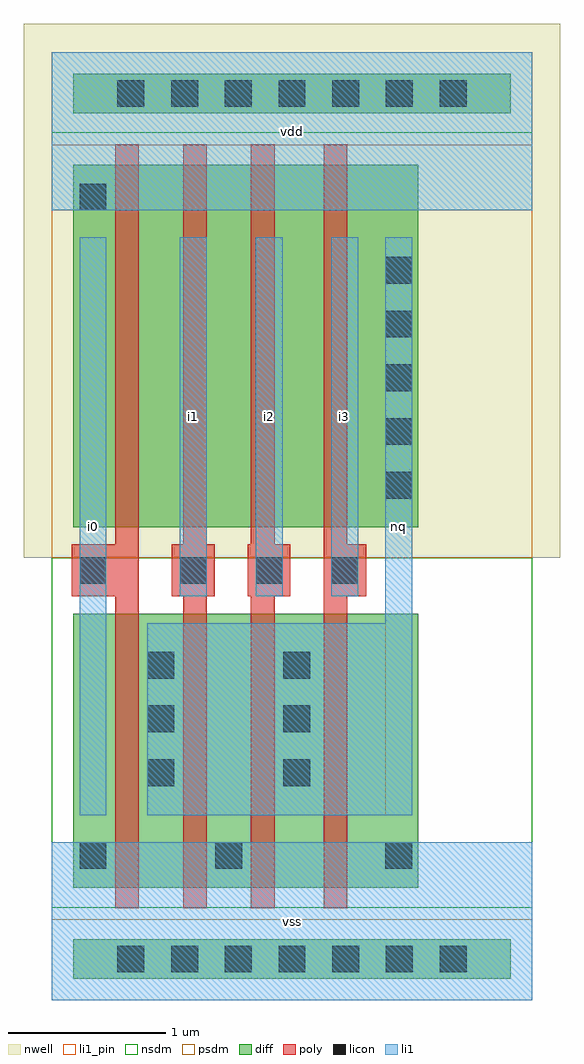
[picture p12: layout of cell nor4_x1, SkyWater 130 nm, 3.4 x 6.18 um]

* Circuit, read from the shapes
.subckt nor4_x1 i0 i1 i2 i3 nq vdd vss
XM1 nq i0 vss VSUBS sky130_fd_pr__nfet_01v8 w=1.735 l=0.15
XM2 vss i1 nq VSUBS sky130_fd_pr__nfet_01v8 w=1.735 l=0.15
XM3 nq i2 vss VSUBS sky130_fd_pr__nfet_01v8 w=1.735 l=0.15
XM4 vss i3 nq VSUBS sky130_fd_pr__nfet_01v8 w=1.735 l=0.15
XM5 n1 i0 vdd n2 sky130_fd_pr__pfet_01v8 w=2.295 l=0.15
XM6 n3 i1 n1 n2 sky130_fd_pr__pfet_01v8 w=2.295 l=0.15
XM7 n4 i2 n3 n2 sky130_fd_pr__pfet_01v8 w=2.295 l=0.15
XM8 nq i3 n4 n2 sky130_fd_pr__pfet_01v8 w=2.295 l=0.15
.ends

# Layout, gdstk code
import gdstk
lib = gdstk.Library(unit=1e-6, precision=1e-09)
def R(c, l, rs):  # rectangles x0, y0, x1, y1
    for r in rs: c.add(gdstk.rectangle(r[:2], r[2:], *l))
def A(c, l, x, y, w, h, nx, ny, dx, dy):  # array of equal rectangles
    R(c, l, [(x+i*dx, y+j*dy, x+i*dx+w, y+j*dy+h) for i in range(nx) for j in range(ny)])
def P(c, l, *ps):  # polygons
    for p in ps: c.add(gdstk.Polygon(p, *l))
nwell = (64, 20)
diff = (65, 20)
poly = (66, 20)
licon = (66, 44)
li1_pin = (67, 16)
li1 = (67, 20)
nsdm = (93, 44)
psdm = (94, 20)

nor4_x1 = lib.new_cell('nor4_x1')
R(nor4_x1, nwell, [(-0.18,2.8,3.22,6.18)])
R(nor4_x1, diff, [(0.135,0.135,2.905,0.385), (0.135,0.71,2.32,2.445), (0.135,2.995,2.32,5.29), (0.135,5.615,2.905,5.865)])
P(nor4_x1, poly, [(0.4,0.58),(0.4,2.555),(0.125,2.555),(0.125,2.885),(0.4,2.885),(0.4,5.42),(0.55,5.42),(0.55,0.58)],
  [(0.83,0.58),(0.83,2.555),(0.76,2.555),(0.76,2.885),(0.83,2.885),(0.83,5.42),(0.98,5.42),(0.98,2.885),(1.03,2.885),(1.03,2.555),(0.98,2.555),(0.98,0.58)],
  [(1.26,0.58),(1.26,2.555),(1.24,2.555),(1.24,2.885),(1.26,2.885),(1.26,5.42),(1.41,5.42),(1.41,2.885),(1.51,2.885),(1.51,2.555),(1.41,2.555),(1.41,0.58)],
  [(1.72,0.58),(1.72,5.42),(1.87,5.42),(1.87,2.885),(1.99,2.885),(1.99,2.555),(1.87,2.555),(1.87,0.58)])
A(nor4_x1, licon, 0.415, 0.175, 0.17, 0.17, 7, 2, 0.34, 5.48)
A(nor4_x1, licon, 0.605, 1.355, 0.17, 0.17, 1, 3, 0, 0.34)
A(nor4_x1, licon, 1.465, 1.355, 0.17, 0.17, 1, 3, 0, 0.34)
A(nor4_x1, licon, 0.81, 2.635, 0.17, 0.17, 3, 1, 0.48, 0)
A(nor4_x1, licon, 2.11, 3.175, 0.17, 0.17, 1, 5, 0, 0.34)
R(nor4_x1, licon, [(0.175,0.83,0.345,1), (1.035,0.83,1.205,1), (2.11,0.83,2.28,1), (0.175,2.635,0.345,2.805), (0.175,5,0.345,5.17)])
A(nor4_x1, li1_pin, 0.81, 2.555, 0.17, 2.275, 3, 1, 0.48, 0)
R(nor4_x1, li1_pin, [(0,0,3.04,1), (0.175,1.17,0.345,4.83), (2.11,1.17,2.28,4.83), (0,5,3.04,6)])
A(nor4_x1, li1, 0.81, 2.555, 0.17, 2.275, 3, 1, 0.48, 0)
R(nor4_x1, li1, [(0,0,3.04,1), (0.175,1.17,0.345,4.83), (0,5,3.04,6)])
P(nor4_x1, li1, [(0.605,1.17),(0.605,2.385),(2.11,2.385),(2.11,4.83),(2.28,4.83),(2.28,1.17)])
R(nor4_x1, nsdm, [(0,0.585,3.04,2.8), (0,5.49,3.04,6)])
R(nor4_x1, psdm, [(0,0,3.04,0.51), (0,2.8,3.04,5.415)])
nor4_x1.add(gdstk.Label('vss', (1.52,0.5), layer=67, texttype=16))
nor4_x1.add(gdstk.Label('vdd', (1.52,5.5), layer=67, texttype=16))
nor4_x1.add(gdstk.Label('nq', (2.195,3), layer=67, texttype=16))
nor4_x1.add(gdstk.Label('i0', (0.26,3), layer=67, texttype=16))
nor4_x1.add(gdstk.Label('i1', (0.895,3.693), layer=67, texttype=16))
nor4_x1.add(gdstk.Label('i2', (1.375,3.693), layer=67, texttype=16))
nor4_x1.add(gdstk.Label('i3', (1.855,3.693), layer=67, texttype=16))

lib.write_gds('nor4_x1.gds')
